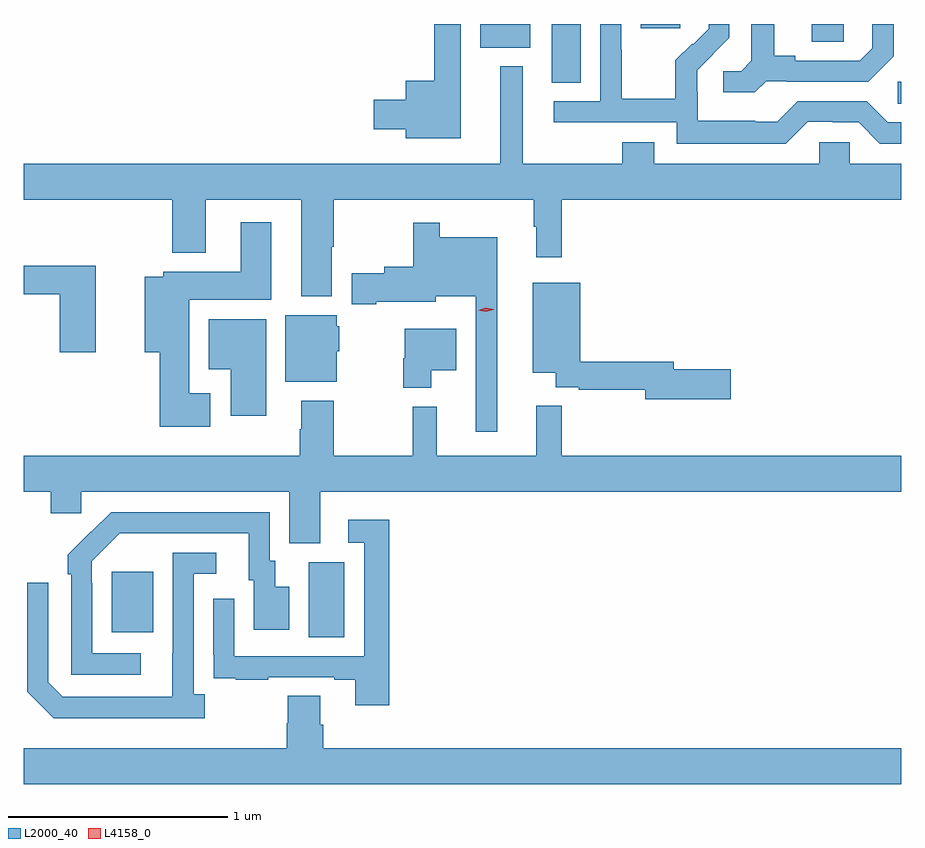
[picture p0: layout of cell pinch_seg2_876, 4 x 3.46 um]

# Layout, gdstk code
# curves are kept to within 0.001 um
import gdstk
lib = gdstk.Library(unit=1e-6, precision=1e-09)
def R(c, l, rs):  # rectangles x0, y0, x1, y1
    for r in rs: c.add(gdstk.rectangle(r[:2], r[2:], *l))
def P(c, l, *ps):  # polygons
    for p in ps: c.add(gdstk.Polygon(p, *l))
L2000_40 = (2000, 40)
L4158_0 = (4158, 0)

pinch_seg2_876 = lib.new_cell('pinch_seg2_876')
R(pinch_seg2_876, L2000_40, [(397.13,626.992,397.294,627.336), (396.233,627.017,396.421,627.292), (399.816,629.425,399.832,629.526), (398.24,629.521,398.371,629.789), (397.913,629.681,398.14,629.789), (399.425,629.707,399.57,629.789), (398.645,629.769,398.824,629.789)])
P(pinch_seg2_876, L2000_40, [(399.216,629.529),(399.31,629.529),(399.31,629.526),(399.682,629.526),(399.798,629.642),(399.798,629.789),(399.701,629.789),(399.701,629.679),(399.644,629.622),(399.349,629.622),(399.349,629.645),(399.253,629.645),(399.253,629.789),(399.149,629.789),(399.149,629.621),(399.102,629.574),(399.021,629.574),(399.021,629.477),(399.164,629.477)],
  [(399.405,629.343),(399.521,629.343),(399.521,629.34),(399.639,629.34),(399.735,629.244),(399.832,629.244),(399.832,629.34),(399.771,629.34),(399.675,629.436),(399.36,629.436),(399.267,629.343),(399.167,629.343),(399.167,629.347),(398.904,629.347),(398.904,629.481),(398.902,629.481),(398.902,629.578),(399.048,629.726),(399.048,629.789),(398.954,629.789),(398.954,629.768),(398.883,629.697),(398.88,629.7),(398.803,629.623),(398.803,629.449),(398.559,629.449),(398.559,629.672),(398.556,629.672),(398.556,629.789),(398.46,629.789),(398.46,629.436),(398.247,629.436),(398.247,629.34),(398.808,629.34),(398.808,629.243),(399.305,629.243)],
  [(397.825,629.789),(397.704,629.789),(397.704,629.53),(397.574,629.53),(397.574,629.444),(397.428,629.444),(397.428,629.309),(397.574,629.309),(397.574,629.267),(397.825,629.267)],
  [(397.237,628.773),(397.245,628.773),(397.245,628.988),(398.157,628.988),(398.157,628.865),(398.168,628.865),(398.168,628.725),(398.285,628.725),(398.285,628.988),(399.832,628.988),(399.832,629.152),(399.597,629.152),(399.597,629.25),(399.459,629.25),(399.459,629.152),(398.707,629.152),(398.707,629.251),(398.56,629.251),(398.56,629.152),(398.107,629.152),(398.107,629.596),(398.003,629.596),(398.003,629.152),(395.832,629.152),(395.832,628.988),(396.509,628.988),(396.509,628.745),(396.661,628.745),(396.661,628.988),(397.097,628.988),(397.097,628.547),(397.237,628.547)],
  [(396.682,628.105),(396.586,628.105),(396.586,628.532),(396.961,628.532),(396.961,628.885),(396.821,628.885),(396.821,628.66),(396.468,628.66),(396.468,628.636),(396.383,628.636),(396.383,628.292),(396.452,628.292),(396.452,627.953),(396.682,627.953)],
  [(397.99,628.816),(397.729,628.816),(397.729,628.882),(397.608,628.882),(397.608,628.683),(397.475,628.683),(397.475,628.653),(397.326,628.653),(397.326,628.511),(397.438,628.511),(397.438,628.523),(397.71,628.523),(397.71,628.547),(397.893,628.547),(397.893,627.93),(397.99,627.93)],
  [(396.16,628.687),(395.832,628.687),(395.832,628.558),(395.995,628.558),(395.995,628.293),(396.16,628.293)],
  [(399.055,628.214),(398.794,628.214),(398.794,628.25),(398.368,628.25),(398.368,628.609),(398.153,628.609),(398.153,628.199),(398.258,628.199),(398.258,628.134),(398.362,628.134),(398.362,628.122),(398.666,628.122),(398.666,628.079),(399.055,628.079)],
  [(397.258,628.296),(397.27,628.296),(397.27,628.41),(397.258,628.41),(397.258,628.462),(397.025,628.462),(397.025,628.157),(397.258,628.157)],
  [(396.937,628.444),(396.674,628.444),(396.674,628.214),(396.776,628.214),(396.776,628.002),(396.937,628.002)],
  [(397.69,628.211),(397.804,628.211),(397.804,628.399),(397.568,628.399),(397.568,628.266),(397.561,628.266),(397.561,628.13),(397.69,628.13)],
  [(397.097,627.941),(397.09,627.941),(397.09,627.82),(395.832,627.82),(395.832,627.656),(395.954,627.656),(395.954,627.558),(396.093,627.558),(396.093,627.656),(397.043,627.656),(397.043,627.421),(397.183,627.421),(397.183,627.656),(399.832,627.656),(399.832,627.82),(398.285,627.82),(398.285,628.049),(398.168,628.049),(398.168,627.82),(397.715,627.82),(397.715,628.045),(397.605,628.045),(397.605,627.82),(397.245,627.82),(397.245,628.072),(397.097,628.072)],
  [(396.364,626.919),(396.144,626.919),(396.144,627.239),(396.141,627.239),(396.141,627.339),(396.27,627.468),(396.857,627.468),(396.857,627.252),(396.881,627.252),(396.881,627.027),(397.042,627.027),(397.042,627.223),(396.979,627.223),(396.979,627.342),(396.954,627.342),(396.954,627.564),(396.23,627.564),(396.033,627.369),(396.033,627.281),(396.048,627.281),(396.048,626.823),(396.364,626.823)],
  [(397.499,627.529),(397.311,627.529),(397.311,627.423),(397.383,627.423),(397.383,626.907),(396.792,626.907),(396.792,627.169),(396.696,627.169),(396.696,626.914),(396.697,626.914),(396.697,626.805),(396.799,626.805),(396.799,626.799),(396.947,626.799),(396.947,626.811),(397.247,626.811),(397.247,626.799),(397.343,626.799),(397.343,626.682),(397.499,626.682)],
  [(396.658,626.734),(396.606,626.734),(396.606,627.282),(396.709,627.282),(396.709,627.378),(396.51,627.378),(396.509,626.721),(396.009,626.721),(395.943,626.787),(395.943,627.241),(395.847,627.241),(395.847,626.745),(395.968,626.624),(396.658,626.624)],
  [(399.832,626.488),(397.196,626.488),(397.196,626.594),(397.183,626.594),(397.183,626.726),(397.036,626.726),(397.036,626.601),(397.031,626.601),(397.031,626.488),(395.832,626.488),(395.832,626.324),(399.832,626.324)])
P(pinch_seg2_876, L4158_0, [(397.939,628.476),(397.903,628.484),(397.903,628.484),(397.903,628.484),(397.938,628.496),(397.974,628.488),(397.974,628.488),(397.974,628.487)])

lib.write_gds('pinch_seg2_876.gds')
